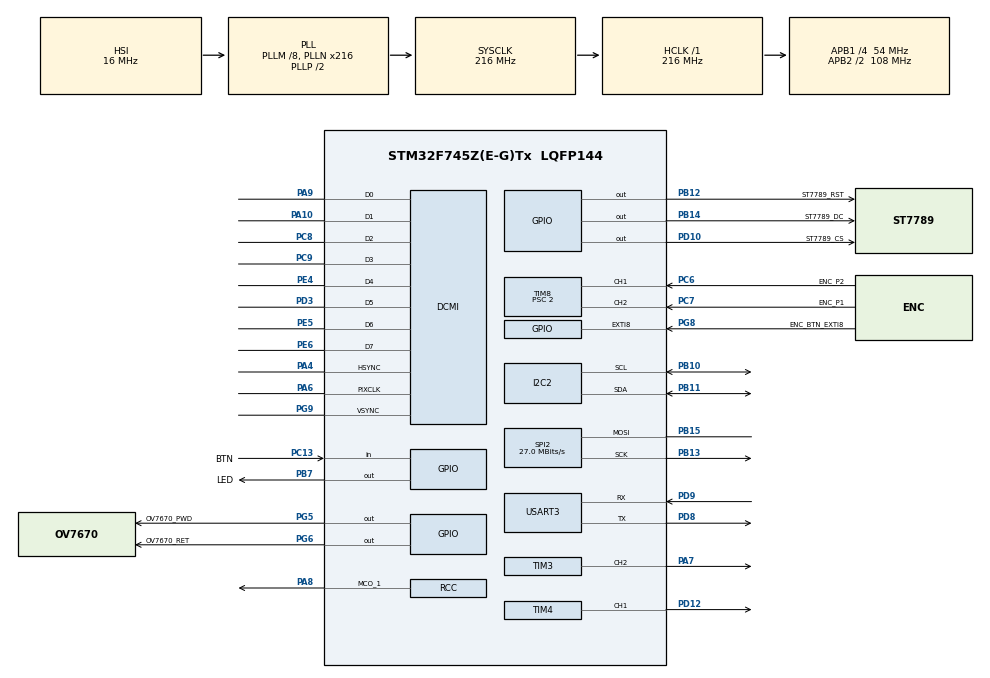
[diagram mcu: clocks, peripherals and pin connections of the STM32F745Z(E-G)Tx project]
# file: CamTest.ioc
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CORTEX_M7.CPU_DCache=Enabled
CORTEX_M7.CPU_ICache=Enabled
DCMI.HSPolarity=DCMI_HSPOLARITY_LOW
DCMI.PCKPolarity=DCMI_PCKPOLARITY_RISING
DCMI.VSPolarity=DCMI_VSPOLARITY_HIGH
Dma.DCMI.0.Direction=DMA_PERIPH_TO_MEMORY
Dma.DCMI.0.FIFOMode=DMA_FIFOMODE_ENABLE
Dma.DCMI.0.FIFOThreshold=DMA_FIFO_THRESHOLD_FULL
Dma.DCMI.0.Instance=DMA2_Stream1
Dma.DCMI.0.MemBurst=DMA_MBURST_SINGLE
Dma.DCMI.0.MemDataAlignment=DMA_MDATAALIGN_WORD
Dma.DCMI.0.MemInc=DMA_MINC_ENABLE
Dma.DCMI.0.Mode=DMA_NORMAL
Dma.DCMI.0.PeriphBurst=DMA_PBURST_SINGLE
Dma.DCMI.0.PeriphDataAlignment=DMA_PDATAALIGN_WORD
Dma.DCMI.0.PeriphInc=DMA_PINC_DISABLE
Dma.DCMI.0.Priority=DMA_PRIORITY_HIGH
Dma.Request0=DCMI
Dma.Request1=TIM3_CH2
Dma.Request2=SPI2_TX
Dma.SPI2_TX.2.Direction=DMA_MEMORY_TO_PERIPH
Dma.SPI2_TX.2.FIFOMode=DMA_FIFOMODE_DISABLE
Dma.SPI2_TX.2.Instance=DMA1_Stream4
Dma.SPI2_TX.2.MemDataAlignment=DMA_MDATAALIGN_BYTE
Dma.SPI2_TX.2.MemInc=DMA_MINC_ENABLE
Dma.SPI2_TX.2.Mode=DMA_NORMAL
Dma.SPI2_TX.2.PeriphDataAlignment=DMA_PDATAALIGN_BYTE
Dma.SPI2_TX.2.PeriphInc=DMA_PINC_DISABLE
Dma.SPI2_TX.2.Priority=DMA_PRIORITY_LOW
Dma.TIM3_CH2.1.Direction=DMA_MEMORY_TO_PERIPH
Dma.TIM3_CH2.1.FIFOMode=DMA_FIFOMODE_DISABLE
Dma.TIM3_CH2.1.Instance=DMA1_Stream5
Dma.TIM3_CH2.1.MemDataAlignment=DMA_MDATAALIGN_HALFWORD
Dma.TIM3_CH2.1.MemInc=DMA_MINC_ENABLE
Dma.TIM3_CH2.1.Mode=DMA_NORMAL
Dma.TIM3_CH2.1.PeriphDataAlignment=DMA_PDATAALIGN_HALFWORD
Dma.TIM3_CH2.1.PeriphInc=DMA_PINC_DISABLE
Dma.TIM3_CH2.1.Priority=DMA_PRIORITY_LOW
I2C2.NoStretchMode=I2C_NOSTRETCH_DISABLE
I2C2.Speed=40
I2C2.Timing=0x2040BEFF
Mcu.Family=STM32F7
Mcu.Name=STM32F745Z(E-G)Tx
Mcu.Package=LQFP144
NVIC.DCMI_IRQn=true\:0\:0\:false\:false\:true\:true\:true
NVIC.DMA1_Stream4_IRQn=true\:0\:0\:false\:false\:true\:false\:true
NVIC.DMA1_Stream5_IRQn=true\:0\:0\:false\:false\:true\:false\:true
NVIC.DMA2_Stream1_IRQn=true\:0\:0\:false\:false\:true\:false\:true
NVIC.EXTI9_5_IRQn=true\:0\:0\:false\:false\:true\:true\:true
NVIC.PriorityGroup=NVIC_PRIORITYGROUP_4
NVIC.SPI2_IRQn=true\:0\:0\:false\:false\:true\:true\:true
NVIC.TIM3_IRQn=true\:0\:0\:false\:false\:true\:true\:true
NVIC.TIM8_CC_IRQn=true\:0\:0\:false\:false\:true\:true\:true
PA10.Mode=Slave_8_bits_External_Synchro
PA10.Signal=DCMI_D1
PA4.Mode=Slave_8_bits_External_Synchro
PA4.Signal=DCMI_HSYNC
PA6.Mode=Slave_8_bits_External_Synchro
PA6.Signal=DCMI_PIXCLK
PA7.Signal=S_TIM3_CH2
PA8.Mode=Clock-out-1
PA8.Signal=RCC_MCO_1
PA9.Mode=Slave_8_bits_External_Synchro
PA9.Signal=DCMI_D0
PB10.Mode=I2C
PB10.Signal=I2C2_SCL
PB11.Mode=I2C
PB11.Signal=I2C2_SDA
PB12.GPIO_Label=ST7789_RST
PB12.Signal=GPIO_Output
PB13.Mode=Simplex_Bidirectional_Master
PB13.Signal=SPI2_SCK
PB14.GPIO_Label=ST7789_DC
PB14.Signal=GPIO_Output
PB15.Mode=Simplex_Bidirectional_Master
PB15.Signal=SPI2_MOSI
PB7.GPIO_Label=LED
PB7.Signal=GPIO_Output
PC13.GPIO_Label=BTN
PC13.Signal=GPIO_Input
PC6.GPIO_Label=ENC_P2
PC6.GPIO_PuPd=GPIO_PULLUP
PC6.Signal=S_TIM8_CH1
PC7.GPIO_Label=ENC_P1
PC7.GPIO_PuPd=GPIO_PULLUP
PC7.Signal=S_TIM8_CH2
PC8.Mode=Slave_8_bits_External_Synchro
PC8.Signal=DCMI_D2
PC9.Mode=Slave_8_bits_External_Synchro
PC9.Signal=DCMI_D3
PD10.GPIO_Label=ST7789_CS
PD10.Signal=GPIO_Output
PD12.Signal=S_TIM4_CH1
PD3.Mode=Slave_8_bits_External_Synchro
PD3.Signal=DCMI_D5
PD8.Mode=Asynchronous
PD8.Signal=USART3_TX
PD9.Mode=Asynchronous
PD9.Signal=USART3_RX
PE4.Mode=Slave_8_bits_External_Synchro
PE4.Signal=DCMI_D4
PE5.Mode=Slave_8_bits_External_Synchro
PE5.Signal=DCMI_D6
PE6.Mode=Slave_8_bits_External_Synchro
PE6.Signal=DCMI_D7
PG5.GPIO_Label=OV7670_PWD
PG5.Signal=GPIO_Output
PG6.GPIO_Label=OV7670_RET
PG6.Signal=GPIO_Output
PG8.GPIO_Label=ENC_BTN_EXTI8
PG8.GPIO_ModeDefaultEXTI=GPIO_MODE_IT_FALLING
PG8.GPIO_PuPd=GPIO_PULLUP
PG8.Signal=GPXTI8
PG9.Mode=Slave_8_bits_External_Synchro
PG9.Signal=DCMI_VSYNC
ProjectManager.HeapSize=0x200
ProjectManager.StackSize=0x400
ProjectManager.TargetToolchain=STM32CubeIDE
RCC.AHBFreq_Value=216000000
RCC.APB1CLKDivider=RCC_HCLK_DIV4
RCC.APB1Freq_Value=54000000
RCC.APB1TimFreq_Value=108000000
RCC.APB2CLKDivider=RCC_HCLK_DIV2
RCC.APB2Freq_Value=108000000
RCC.APB2TimFreq_Value=216000000
RCC.CortexFreq_Value=216000000
RCC.HCLKFreq_Value=216000000
RCC.HSE_VALUE=25000000
RCC.HSI_VALUE=16000000
RCC.LSE_VALUE=32768
RCC.PLLI2SR=6
RCC.PLLM=8
RCC.PLLN=216
RCC.RCC_MCO2Source=RCC_MCO2SOURCE_PLLI2SCLK
RCC.RCC_MCODiv2=RCC_MCODIV_4
RCC.SYSCLKFreq_VALUE=216000000
RCC.SYSCLKSource=RCC_SYSCLKSOURCE_PLLCLK
RCC.USBFreq_Value=216000000
RCC.VCOOutputFreq_Value=432000000
SH.S_TIM3_CH2.0=TIM3_CH2,PWM Generation2 CH2
SH.S_TIM4_CH1.0=TIM4_CH1,PWM Generation1 CH1
SH.S_TIM8_CH1.0=TIM8_CH1,Encoder_Interface
SH.S_TIM8_CH2.0=TIM8_CH2,Encoder_Interface
SPI2.BaudRatePrescaler=SPI_BAUDRATEPRESCALER_2
SPI2.CLKPolarity=SPI_POLARITY_HIGH
SPI2.CalculateBaudRate=27.0 MBits/s
SPI2.DataSize=SPI_DATASIZE_8BIT
SPI2.Direction=SPI_DIRECTION_1LINE
SPI2.Mode=SPI_MODE_MASTER
SPI2.VirtualType=VM_MASTER
TIM3.Channel-PWM\ Generation2\ CH2=TIM_CHANNEL_2
TIM3.Period=123
TIM4.Channel-PWM\ Generation1\ CH1=TIM_CHANNEL_1
TIM4.Period=10000
TIM4.Prescaler=108
TIM4.Pulse-PWM\ Generation1\ CH1=5000
TIM8.AutoReloadPreload=TIM_AUTORELOAD_PRELOAD_ENABLE
TIM8.EncoderMode=TIM_ENCODERMODE_TI1
TIM8.IC1Filter=5
TIM8.IC1Polarity=TIM_ICPOLARITY_RISING
TIM8.IC2Filter=5
TIM8.IC2Polarity=TIM_ICPOLARITY_RISING
TIM8.Period=65535
TIM8.Prescaler=2
USART3.VirtualMode-Asynchronous=VM_ASYNC
VP_TIM3_VS_ClockSourceINT.Mode=Internal
board=custom

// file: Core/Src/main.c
/* USER CODE BEGIN Header */
/**
  ******************************************************************************
  * @file           : main.c
  * @brief          : Main program body
  ******************************************************************************
  * @attention
  *
  * <h2><center>&copy; Copyright (c) 2020 STMicroelectronics.
  * All rights reserved.</center></h2>
  *
  * This software component is licensed by ST under BSD 3-Clause license,
  * the "License"; You may not use this file except in compliance with the
  * License. You may obtain a copy of the License at:
  *                        opensource.org/licenses/BSD-3-Clause
  *
  ******************************************************************************
  */
/* USER CODE END Header */
#include "main.h"

/* USER CODE BEGIN Includes */
#include "ws2812.h"
#include "ov7670.h"
#include "st7789.h"
#include "menu.h"
#include "globals.h"
/* USER CODE END Includes */

/* USER CODE BEGIN PD */

#define BEST_LIGHTNING 55
/* USER CODE END PD */

DCMI_HandleTypeDef hdcmi;
DMA_HandleTypeDef hdma_dcmi;

I2C_HandleTypeDef hi2c2;

SPI_HandleTypeDef hspi2;
DMA_HandleTypeDef hdma_spi2_tx;

TIM_HandleTypeDef htim3;
TIM_HandleTypeDef htim4;
TIM_HandleTypeDef htim8;
DMA_HandleTypeDef hdma_tim3_ch2;

UART_HandleTypeDef huart3;

/* USER CODE BEGIN PV */
//uint16_t framebuffer[OV7670_QVGA_WIDTH * OV7670_QVGA_HEIGHT];
uint16_t framebuffer[OV7670_QVGA_HEIGHT][OV7670_QVGA_WIDTH  ];
unsigned char img[MAXYDIM][MAXXDIM];
//unsigned char img2[MAXYDIM][MAXXDIM];
//unsigned char img2[MAXXDIM][MAXYDIM];
uint8_t btn_enc = 0;
uint8_t pic_captured = 0;
uint8_t pic_written = 1;
uint8_t led_val;
uint8_t led_val_changed = 0;

/* USER CODE END PV */

void SystemClock_Config(void);
static void MX_GPIO_Init(void);
static void MX_DMA_Init(void);
static void MX_DCMI_Init(void);
static void MX_I2C2_Init(void);
static void MX_TIM3_Init(void);
static void MX_USART3_UART_Init(void);
static void MX_SPI2_Init(void);
static void MX_TIM4_Init(void);
static void MX_TIM8_Init(void);

int main(void)
{

  /* Enable I-Cache---------------------------------------------------------*/
  SCB_EnableICache();

  /* Enable D-Cache---------------------------------------------------------*/
  SCB_EnableDCache();

  /* MCU Configuration--------------------------------------------------------*/

  /* Reset of all peripherals, Initializes the Flash interface and the Systick. */
  HAL_Init();

  /* Configure the system clock */
  SystemClock_Config();

  /* Initialize all configured peripherals */
  MX_GPIO_Init();
  MX_DMA_Init();
  MX_DCMI_Init();
  MX_I2C2_Init();
  MX_TIM3_Init();
  MX_USART3_UART_Init();
  MX_SPI2_Init();
  MX_TIM4_Init();
  MX_TIM8_Init();
  /* USER CODE BEGIN 2 */
  for(unsigned int x = 0; x < OV7670_QVGA_WIDTH; x++){
	  for(unsigned int y = 0; y < OV7670_QVGA_HEIGHT; y++){
	  framebuffer[y][x] = 0;
	  }
  }
  ov7670_init(&hdcmi, &hdma_dcmi, &hi2c2);
  ov7670_config(1);

  led_init();

  ST7789_Init();
  HAL_TIM_Encoder_Start_IT(&htim8, TIM_CHANNEL_ALL);
  uint32_t last_enc = 0;

  //HAL_DMA_RegisterCallback(&hdma_dcmi, HAL_DMA_XFER_CPLT_CB_ID, &DCMICompleteCallback);
  //HAL_DCMI_Start_DMA(&hdcmi, DCMI_MODE_SNAPSHOT, &frame_buffer, IMG_ROWS * IMG_COLUMNS/2);
  static int btn_set = 0;
  uint8_t buffer[10] = {
		  'M','o','i','n',0
  };
  uint8_t recv[10] = {0,0,0,0,0,0,0,0,0,0};

  uint8_t toggle_led = 0;

  // Camera in standby schicken, bis sie gebraucht wird

  /* USER CODE END 2 */

  /* Infinite loop */
  /* USER CODE BEGIN WHILE */
  while (1)
  {
	  /*
	  HAL_StatusTypeDef status = HAL_DMA_PollForTransfer(&hdma_dcmi, HAL_DMA_FULL_TRANSFER, 10000);
	  if(status == HAL_OK){
		  HAL_GPIO_TogglePin(LED_GPIO_Port, LED_Pin);
		  HAL_DCMI_Start_DMA(&hdcmi, DCMI_MODE_SNAPSHOT, &frame_buffer, IMG_ROWS * IMG_COLUMNS/2);
	  }
		*/

	  menu();

	  last_enc = htim8.Instance->CNT;

	  if(led_val_changed && toggle_led){
		  led_fill(led_val,led_val,led_val);
		  led_show();
		  led_val_changed = 0;
	  }

	  if(btn_enc){
		  toggle_led ^= 1;
		  if(toggle_led){
			  led_fill(led_val,led_val,led_val);
			  led_show();
		  }else{
			  led_fill(0,0,0);
			  led_show();
		  }
		  HAL_Delay(100);
		  btn_enc = 0;
		  HAL_NVIC_EnableIRQ(EXTI9_5_IRQn);
	  }
	  if(pic_captured == 0 /*&& pic_written == 1*/){
		  ov7670_startCap(OV7670_CAP_SINGLE_FRAME, &framebuffer);
		  pic_written = 0;
		  pic_captured = 2;
	  }
	  if(pic_captured == 1){
		  pic_captured = 0;
		  ov7670_stopCap();
		  //ST7789_WriteDataDMA(framebuffer, sizeof(framebuffer),0,0,320,240);
		  ST7789_DrawImage(0,0,320,240,framebuffer);
	  }
	  continue;

	  //if( GPIO_PIN_SET == HAL_GPIO_ReadPin(BTN_GPIO_Port, BTN_Pin) && (btn_set == 0)){
	  if(HAL_UART_Receive(&huart3, &recv, 2, 1000) == HAL_OK){
		  if(recv[0] == 'P' && recv[1] == '1'){
			  HAL_UART_Transmit(&huart3, "OK\0",3 , 1000);
/*
			  btn_set++;
			  led_fill(100,0,0);
			  led_show();
			  ov7670_startCap(OV7670_CAP_SINGLE_FRAME, &framebuffer);
			  //HAL_UART_Receive(&huart3, buffer, sizeof(buffer), 1000);
			  HAL_Delay(500);
			  led_fill(0,0,0);
			  led_show();
			  ST7789_DrawImage(0,0,320,240,framebuffer);
			  HAL_Delay(2000);

			  led_fill(0,100,0);
			  led_show();
			  ov7670_startCap(OV7670_CAP_SINGLE_FRAME, &framebuffer);
			  //HAL_UART_Receive(&huart3, buffer, sizeof(buffer), 1000);
			  HAL_Delay(500);
			  led_fill(0,0,0);
			  led_show();
			  ST7789_DrawImage(0,0,320,240,framebuffer);
			  HAL_Delay(2000);
			  */

//			  led_fill(50,50,50);
//			  led_show();
			  ov7670_startCap(OV7670_CAP_SINGLE_FRAME, &framebuffer);
			  //HAL_UART_Receive(&huart3, buffer, sizeof(buffer), 1000);
			  HAL_Delay(500);
			  led_fill(0,0,0);
			  led_show();
			  HAL_Delay(150);
			  ST7789_DrawImage(0,0,320,240,framebuffer);
			  //HAL_Delay(2000);
/*
			  uint16_t tmp[(OV7670_QVGA_WIDTH)+2];
			  int length = (OV7670_QVGA_WIDTH *2) +2;
			  for(int i = 0; i < OV7670_QVGA_HEIGHT; i++){
				  memset(&buffer,0,10);
				  tmp[0] = i;
				  memcpy(&tmp[1], &framebuffer[OV7670_QVGA_WIDTH*i], OV7670_QVGA_WIDTH);
				  HAL_UART_Transmit(&huart3, tmp,length , 1000);
				  //HAL_Delay(10);
				  HAL_UART_Receive(&huart3, &buffer, 10, 100);
				  if(buffer[0] != "O" || buffer[1] != 'K'){
					  btn_set++;
					  break;
				  }

			  }
*/
		  }
		  //btn_set++;
	  }

/*
	  else if(btn_set > 1){
		  btn_set = 0;
	  }
*/
	  // Test Display
	  //ST7789_Test();

    /* USER CODE END WHILE */

  }
}

void SystemClock_Config(void)
{
  RCC_OscInitTypeDef RCC_OscInitStruct = {0};
  RCC_ClkInitTypeDef RCC_ClkInitStruct = {0};
  RCC_PeriphCLKInitTypeDef PeriphClkInitStruct = {0};

  /** Configure the main internal regulator output voltage
  */
  __HAL_RCC_PWR_CLK_ENABLE();
  __HAL_PWR_VOLTAGESCALING_CONFIG(PWR_REGULATOR_VOLTAGE_SCALE1);
  /** Initializes the RCC Oscillators according to the specified parameters
  * in the RCC_OscInitTypeDef structure.
  */
  RCC_OscInitStruct.OscillatorType = RCC_OSCILLATORTYPE_HSI;
  RCC_OscInitStruct.HSIState = RCC_HSI_ON;
  RCC_OscInitStruct.HSICalibrationValue = RCC_HSICALIBRATION_DEFAULT;
  RCC_OscInitStruct.PLL.PLLState = RCC_PLL_ON;
  RCC_OscInitStruct.PLL.PLLSource = RCC_PLLSOURCE_HSI;
  RCC_OscInitStruct.PLL.PLLM = 8;
  RCC_OscInitStruct.PLL.PLLN = 216;
  RCC_OscInitStruct.PLL.PLLP = RCC_PLLP_DIV2;
  RCC_OscInitStruct.PLL.PLLQ = 2;
  if (HAL_RCC_OscConfig(&RCC_OscInitStruct) != HAL_OK)
  {
    Error_Handler();
  }
  /** Activate the Over-Drive mode
  */
  if (HAL_PWREx_EnableOverDrive() != HAL_OK)
  {
    Error_Handler();
  }
  /** Initializes the CPU, AHB and APB buses clocks
  */
  RCC_ClkInitStruct.ClockType = RCC_CLOCKTYPE_HCLK|RCC_CLOCKTYPE_SYSCLK
                              |RCC_CLOCKTYPE_PCLK1|RCC_CLOCKTYPE_PCLK2;
  RCC_ClkInitStruct.SYSCLKSource = RCC_SYSCLKSOURCE_PLLCLK;
  RCC_ClkInitStruct.AHBCLKDivider = RCC_SYSCLK_DIV1;
  RCC_ClkInitStruct.APB1CLKDivider = RCC_HCLK_DIV4;
  RCC_ClkInitStruct.APB2CLKDivider = RCC_HCLK_DIV2;

  if (HAL_RCC_ClockConfig(&RCC_ClkInitStruct, FLASH_LATENCY_7) != HAL_OK)
  {
    Error_Handler();
  }
  PeriphClkInitStruct.PeriphClockSelection = RCC_PERIPHCLK_USART3|RCC_PERIPHCLK_I2C2;
  PeriphClkInitStruct.Usart3ClockSelection = RCC_USART3CLKSOURCE_PCLK1;
  PeriphClkInitStruct.I2c2ClockSelection = RCC_I2C2CLKSOURCE_PCLK1;
  if (HAL_RCCEx_PeriphCLKConfig(&PeriphClkInitStruct) != HAL_OK)
  {
    Error_Handler();
  }
  HAL_RCC_MCOConfig(RCC_MCO1, RCC_MCO1SOURCE_HSI, RCC_MCODIV_1);
}

static void MX_DCMI_Init(void)
{

  hdcmi.Instance = DCMI;
  hdcmi.Init.SynchroMode = DCMI_SYNCHRO_HARDWARE;
  hdcmi.Init.PCKPolarity = DCMI_PCKPOLARITY_RISING;
  hdcmi.Init.VSPolarity = DCMI_VSPOLARITY_HIGH;
  hdcmi.Init.HSPolarity = DCMI_HSPOLARITY_LOW;
  hdcmi.Init.CaptureRate = DCMI_CR_ALL_FRAME;
  hdcmi.Init.ExtendedDataMode = DCMI_EXTEND_DATA_8B;
  hdcmi.Init.JPEGMode = DCMI_JPEG_DISABLE;
  hdcmi.Init.ByteSelectMode = DCMI_BSM_ALL;
  hdcmi.Init.ByteSelectStart = DCMI_OEBS_ODD;
  hdcmi.Init.LineSelectMode = DCMI_LSM_ALL;
  hdcmi.Init.LineSelectStart = DCMI_OELS_ODD;
  if (HAL_DCMI_Init(&hdcmi) != HAL_OK)
  {
    Error_Handler();
  }
  /* USER CODE BEGIN DCMI_Init 2 */
  //hdcmi.DMA_Handle->

  //hdcmi.XferSize = IMG_ROWS * IMG_COLUMNS;
  //hdcmi.pBuffPtr = frame_buffer;

  //hdcmi.DMA_Handle->XferCpltCallback = DCMICompleteCallback;
  //hdcmi.DMA_Handle->XferErrorCallback = DCMIErrorCallback;

  /* USER CODE END DCMI_Init 2 */

}

static void MX_I2C2_Init(void)
{

  hi2c2.Instance = I2C2;
  hi2c2.Init.Timing = 0x2040BEFF;
  hi2c2.Init.OwnAddress1 = 0;
  hi2c2.Init.AddressingMode = I2C_ADDRESSINGMODE_7BIT;
  hi2c2.Init.DualAddressMode = I2C_DUALADDRESS_DISABLE;
  hi2c2.Init.OwnAddress2 = 0;
  hi2c2.Init.OwnAddress2Masks = I2C_OA2_NOMASK;
  hi2c2.Init.GeneralCallMode = I2C_GENERALCALL_DISABLE;
  hi2c2.Init.NoStretchMode = I2C_NOSTRETCH_DISABLE;
  if (HAL_I2C_Init(&hi2c2) != HAL_OK)
  {
    Error_Handler();
  }
  /** Configure Analogue filter
  */
  if (HAL_I2CEx_ConfigAnalogFilter(&hi2c2, I2C_ANALOGFILTER_ENABLE) != HAL_OK)
  {
    Error_Handler();
  }
  /** Configure Digital filter
  */
  if (HAL_I2CEx_ConfigDigitalFilter(&hi2c2, 0) != HAL_OK)
  {
    Error_Handler();
  }

}

static void MX_SPI2_Init(void)
{

  /* SPI2 parameter configuration*/
  hspi2.Instance = SPI2;
  hspi2.Init.Mode = SPI_MODE_MASTER;
  hspi2.Init.Direction = SPI_DIRECTION_1LINE;
  hspi2.Init.DataSize = SPI_DATASIZE_8BIT;
  hspi2.Init.CLKPolarity = SPI_POLARITY_HIGH;
  hspi2.Init.CLKPhase = SPI_PHASE_1EDGE;
  hspi2.Init.NSS = SPI_NSS_SOFT;
  hspi2.Init.BaudRatePrescaler = SPI_BAUDRATEPRESCALER_2;
  hspi2.Init.FirstBit = SPI_FIRSTBIT_MSB;
  hspi2.Init.TIMode = SPI_TIMODE_DISABLE;
  hspi2.Init.CRCCalculation = SPI_CRCCALCULATION_DISABLE;
  hspi2.Init.CRCPolynomial = 7;
  hspi2.Init.CRCLength = SPI_CRC_LENGTH_DATASIZE;
  hspi2.Init.NSSPMode = SPI_NSS_PULSE_ENABLE;
  if (HAL_SPI_Init(&hspi2) != HAL_OK)
  {
    Error_Handler();
  }

}

static void MX_TIM3_Init(void)
{

  TIM_ClockConfigTypeDef sClockSourceConfig = {0};
  TIM_MasterConfigTypeDef sMasterConfig = {0};
  TIM_OC_InitTypeDef sConfigOC = {0};

  htim3.Instance = TIM3;
  htim3.Init.Prescaler = 0;
  htim3.Init.CounterMode = TIM_COUNTERMODE_UP;
  htim3.Init.Period = 123;
  htim3.Init.ClockDivision = TIM_CLOCKDIVISION_DIV1;
  htim3.Init.AutoReloadPreload = TIM_AUTORELOAD_PRELOAD_DISABLE;
  if (HAL_TIM_Base_Init(&htim3) != HAL_OK)
  {
    Error_Handler();
  }
  sClockSourceConfig.ClockSource = TIM_CLOCKSOURCE_INTERNAL;
  if (HAL_TIM_ConfigClockSource(&htim3, &sClockSourceConfig) != HAL_OK)
  {
    Error_Handler();
  }
  if (HAL_TIM_PWM_Init(&htim3) != HAL_OK)
  {
    Error_Handler();
  }
  sMasterConfig.MasterOutputTrigger = TIM_TRGO_RESET;
  sMasterConfig.MasterSlaveMode = TIM_MASTERSLAVEMODE_DISABLE;
  if (HAL_TIMEx_MasterConfigSynchronization(&htim3, &sMasterConfig) != HAL_OK)
  {
    Error_Handler();
  }
  sConfigOC.OCMode = TIM_OCMODE_PWM1;
  sConfigOC.Pulse = 0;
  sConfigOC.OCPolarity = TIM_OCPOLARITY_HIGH;
  sConfigOC.OCFastMode = TIM_OCFAST_DISABLE;
  if (HAL_TIM_PWM_ConfigChannel(&htim3, &sConfigOC, TIM_CHANNEL_2) != HAL_OK)
  {
    Error_Handler();
  }
  /* USER CODE BEGIN TIM3_Init 2 */
  htim3.Init.Period = PWM_ARR;
  HAL_TIM_Base_Init(&htim3);

  /* USER CODE END TIM3_Init 2 */
  HAL_TIM_MspPostInit(&htim3);

}

static void MX_TIM4_Init(void)
{

  TIM_MasterConfigTypeDef sMasterConfig = {0};
  TIM_OC_InitTypeDef sConfigOC = {0};

  htim4.Instance = TIM4;
  htim4.Init.Prescaler = 108;
  htim4.Init.CounterMode = TIM_COUNTERMODE_UP;
  htim4.Init.Period = 10000;
  htim4.Init.ClockDivision = TIM_CLOCKDIVISION_DIV1;
  htim4.Init.AutoReloadPreload = TIM_AUTORELOAD_PRELOAD_DISABLE;
  if (HAL_TIM_PWM_Init(&htim4) != HAL_OK)
  {
    Error_Handler();
  }
  sMasterConfig.MasterOutputTrigger = TIM_TRGO_RESET;
  sMasterConfig.MasterSlaveMode = TIM_MASTERSLAVEMODE_DISABLE;
  if (HAL_TIMEx_MasterConfigSynchronization(&htim4, &sMasterConfig) != HAL_OK)
  {
    Error_Handler();
  }
  sConfigOC.OCMode = TIM_OCMODE_PWM1;
  sConfigOC.Pulse = 5000;
  sConfigOC.OCPolarity = TIM_OCPOLARITY_HIGH;
  sConfigOC.OCFastMode = TIM_OCFAST_DISABLE;
  if (HAL_TIM_PWM_ConfigChannel(&htim4, &sConfigOC, TIM_CHANNEL_1) != HAL_OK)
  {
    Error_Handler();
  }
  HAL_TIM_MspPostInit(&htim4);

}

static void MX_TIM8_Init(void)
{

  TIM_Encoder_InitTypeDef sConfig = {0};
  TIM_MasterConfigTypeDef sMasterConfig = {0};

  htim8.Instance = TIM8;
  htim8.Init.Prescaler = 2;
  htim8.Init.CounterMode = TIM_COUNTERMODE_UP;
  htim8.Init.Period = 65535;
  htim8.Init.ClockDivision = TIM_CLOCKDIVISION_DIV1;
  htim8.Init.RepetitionCounter = 0;
  htim8.Init.AutoReloadPreload = TIM_AUTORELOAD_PRELOAD_ENABLE;
  sConfig.EncoderMode = TIM_ENCODERMODE_TI1;
  sConfig.IC1Polarity = TIM_ICPOLARITY_RISING;
  sConfig.IC1Selection = TIM_ICSELECTION_DIRECTTI;
  sConfig.IC1Prescaler = TIM_ICPSC_DIV1;
  sConfig.IC1Filter = 5;
  sConfig.IC2Polarity = TIM_ICPOLARITY_RISING;
  sConfig.IC2Selection = TIM_ICSELECTION_DIRECTTI;
  sConfig.IC2Prescaler = TIM_ICPSC_DIV1;
  sConfig.IC2Filter = 5;
  if (HAL_TIM_Encoder_Init(&htim8, &sConfig) != HAL_OK)
  {
    Error_Handler();
  }
  sMasterConfig.MasterOutputTrigger = TIM_TRGO_RESET;
  sMasterConfig.MasterOutputTrigger2 = TIM_TRGO2_RESET;
  sMasterConfig.MasterSlaveMode = TIM_MASTERSLAVEMODE_DISABLE;
  if (HAL_TIMEx_MasterConfigSynchronization(&htim8, &sMasterConfig) != HAL_OK)
  {
    Error_Handler();
  }
  /* USER CODE BEGIN TIM8_Init 2 */
  //htim8.Instance->CNT = BEST_LIGHTNING;
  //led_val = htim8.Instance->CNT;

  /* USER CODE END TIM8_Init 2 */

}

static void MX_USART3_UART_Init(void)
{

  huart3.Instance = USART3;
  huart3.Init.BaudRate = 115200;
  huart3.Init.WordLength = UART_WORDLENGTH_8B;
  huart3.Init.StopBits = UART_STOPBITS_1;
  huart3.Init.Parity = UART_PARITY_NONE;
  huart3.Init.Mode = UART_MODE_TX_RX;
  huart3.Init.HwFlowCtl = UART_HWCONTROL_NONE;
  huart3.Init.OverSampling = UART_OVERSAMPLING_16;
  huart3.Init.OneBitSampling = UART_ONE_BIT_SAMPLE_DISABLE;
  huart3.AdvancedInit.AdvFeatureInit = UART_ADVFEATURE_NO_INIT;
  if (HAL_UART_Init(&huart3) != HAL_OK)
  {
    Error_Handler();
  }

}

static void MX_DMA_Init(void)
{

  /* DMA controller clock enable */
  __HAL_RCC_DMA2_CLK_ENABLE();
  __HAL_RCC_DMA1_CLK_ENABLE();

  /* DMA interrupt init */
  /* DMA1_Stream4_IRQn interrupt configuration */
  HAL_NVIC_SetPriority(DMA1_Stream4_IRQn, 0, 0);
  HAL_NVIC_EnableIRQ(DMA1_Stream4_IRQn);
  /* DMA1_Stream5_IRQn interrupt configuration */
  HAL_NVIC_SetPriority(DMA1_Stream5_IRQn, 0, 0);
  HAL_NVIC_EnableIRQ(DMA1_Stream5_IRQn);
  /* DMA2_Stream1_IRQn interrupt configuration */
  HAL_NVIC_SetPriority(DMA2_Stream1_IRQn, 0, 0);
  HAL_NVIC_EnableIRQ(DMA2_Stream1_IRQn);

}

static void MX_GPIO_Init(void)
{
  GPIO_InitTypeDef GPIO_InitStruct = {0};

  /* GPIO Ports Clock Enable */
  __HAL_RCC_GPIOE_CLK_ENABLE();
  __HAL_RCC_GPIOC_CLK_ENABLE();
  __HAL_RCC_GPIOA_CLK_ENABLE();
  __HAL_RCC_GPIOB_CLK_ENABLE();
  __HAL_RCC_GPIOD_CLK_ENABLE();
  __HAL_RCC_GPIOG_CLK_ENABLE();

  /*Configure GPIO pin Output Level */
  HAL_GPIO_WritePin(GPIOB, ST7789_RST_Pin|ST7789_DC_Pin|LED_Pin, GPIO_PIN_RESET);

  /*Configure GPIO pin Output Level */
  HAL_GPIO_WritePin(ST7789_CS_GPIO_Port, ST7789_CS_Pin, GPIO_PIN_RESET);

  /*Configure GPIO pin Output Level */
  HAL_GPIO_WritePin(GPIOG, OV7670_PWD_Pin|OV7670_RET_Pin, GPIO_PIN_RESET);

  /*Configure GPIO pin : BTN_Pin */
  GPIO_InitStruct.Pin = BTN_Pin;
  GPIO_InitStruct.Mode = GPIO_MODE_INPUT;
  GPIO_InitStruct.Pull = GPIO_NOPULL;
  HAL_GPIO_Init(BTN_GPIO_Port, &GPIO_InitStruct);

  /*Configure GPIO pins : ST7789_RST_Pin ST7789_DC_Pin LED_Pin */
  GPIO_InitStruct.Pin = ST7789_RST_Pin|ST7789_DC_Pin|LED_Pin;
  GPIO_InitStruct.Mode = GPIO_MODE_OUTPUT_PP;
  GPIO_InitStruct.Pull = GPIO_NOPULL;
  GPIO_InitStruct.Speed = GPIO_SPEED_FREQ_LOW;
  HAL_GPIO_Init(GPIOB, &GPIO_InitStruct);

  /*Configure GPIO pin : ST7789_CS_Pin */
  GPIO_InitStruct.Pin = ST7789_CS_Pin;
  GPIO_InitStruct.Mode = GPIO_MODE_OUTPUT_PP;
  GPIO_InitStruct.Pull = GPIO_NOPULL;
  GPIO_InitStruct.Speed = GPIO_SPEED_FREQ_LOW;
  HAL_GPIO_Init(ST7789_CS_GPIO_Port, &GPIO_InitStruct);

  /*Configure GPIO pins : OV7670_PWD_Pin OV7670_RET_Pin */
  GPIO_InitStruct.Pin = OV7670_PWD_Pin|OV7670_RET_Pin;
  GPIO_InitStruct.Mode = GPIO_MODE_OUTPUT_PP;
  GPIO_InitStruct.Pull = GPIO_NOPULL;
  GPIO_InitStruct.Speed = GPIO_SPEED_FREQ_LOW;
  HAL_GPIO_Init(GPIOG, &GPIO_InitStruct);

  /*Configure GPIO pin : ENC_BTN_EXTI8_Pin */
  GPIO_InitStruct.Pin = ENC_BTN_EXTI8_Pin;
  GPIO_InitStruct.Mode = GPIO_MODE_IT_FALLING;
  GPIO_InitStruct.Pull = GPIO_PULLUP;
  HAL_GPIO_Init(ENC_BTN_EXTI8_GPIO_Port, &GPIO_InitStruct);

  /*Configure GPIO pin : PA8 */
  GPIO_InitStruct.Pin = GPIO_PIN_8;
  GPIO_InitStruct.Mode = GPIO_MODE_AF_PP;
  GPIO_InitStruct.Pull = GPIO_NOPULL;
  GPIO_InitStruct.Speed = GPIO_SPEED_FREQ_LOW;
  GPIO_InitStruct.Alternate = GPIO_AF0_MCO;
  HAL_GPIO_Init(GPIOA, &GPIO_InitStruct);

  /* EXTI interrupt init*/
  HAL_NVIC_SetPriority(EXTI9_5_IRQn, 0, 0);
  HAL_NVIC_EnableIRQ(EXTI9_5_IRQn);

}

void Error_Handler(void)
{
  __disable_irq();
  while (1)
  {
  }
}

/************************ (C) COPYRIGHT STMicroelectronics *****END OF FILE****/
